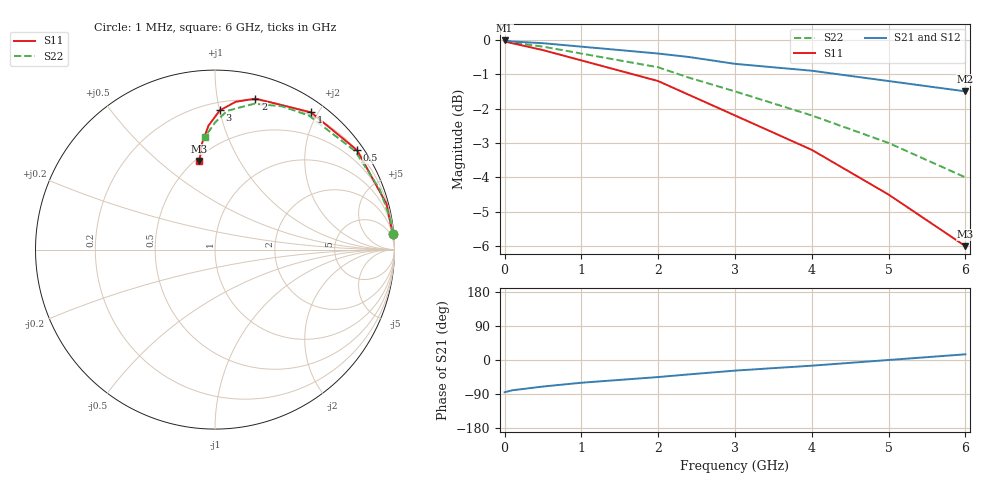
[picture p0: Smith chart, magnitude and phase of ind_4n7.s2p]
! # T062: Example files - Sample 4.7nH inductor
! # Murata LQW15AN4N7G00 style 4.7nH inductor
! # Frequency range: 1 MHz to 6 GHz
# Hz S DB R 50
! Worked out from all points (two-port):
!   10 points, 1 MHz to 6 GHz, reference 50 ohm
!   highest |S21| = -0.02 dB at 1 MHz (marker M1); lowest = -1.5 dB at 6 GHz (marker M2)
!   |S21| within 3 dB of the highest: start of sweep to end of sweep
!   lowest |S11| = -6.0 dB at 6 GHz (marker M3), VSWR 3.01, Z = 26.3 + j34.6 ohm
!   |S11| at or under -10 dB: nowhere
!   |S22| runs from -4.0 to 0.0 dB; largest |S21 - S12| = 0
!   S11 on the Smith chart (normalised r, x): 1 MHz: 2, +23; 500 MHz: 0.19, +3.16; 1 GHz: 0.16, +1.91; 2 GHz: 0.18, +1.29; 3 GHz: 0.26, +1.00; 6 GHz: 0.53, +0.69
1000000  -0.05 5.0  -0.02 -85.0  -0.02 -85.0  -0.05 5.0
1e8  -0.10 15.0  -0.05 -80.0  -0.05 -80.0  -0.08 10.0
5e8  -0.30 35.0  -0.10 -70.0  -0.10 -70.0  -0.20 20.0
1e9  -0.60 55.0  -0.20 -60.0  -0.20 -60.0  -0.40 35.0
2e9  -1.20 75.0  -0.40 -45.0  -0.40 -45.0  -0.80 55.0
2.4e9  -1.60 82.0  -0.50 -38.0  -0.50 -38.0  -1.10 65.0
3e9  -2.20 88.0  -0.70 -28.0  -0.70 -28.0  -1.50 75.0
4e9  -3.20 93.0  -0.90 -15.0  -0.90 -15.0  -2.20 85.0
5e9  -4.50 97.0  -1.20 0.0  -1.20 0.0  -3.00 90.0
6e9  -6.00 100.0  -1.50 15.0  -1.50 15.0  -4.00 95.0
